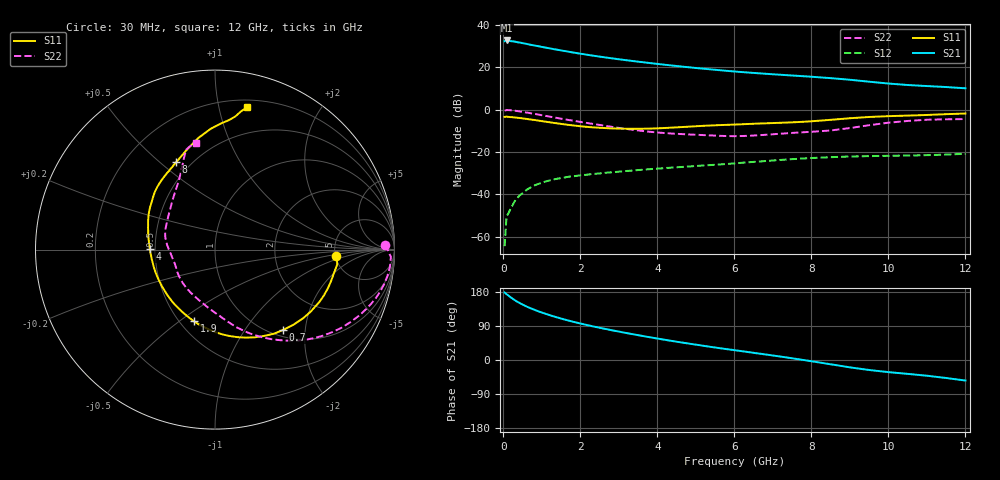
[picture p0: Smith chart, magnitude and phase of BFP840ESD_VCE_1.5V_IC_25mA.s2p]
! Infineon Technologies  Discrete & RF Semiconductors
! BFP840ESD
! VCE =  1.5 V,  IC =  25 mA
! Common Emitter S-Parameters:  May 2012
# GHz  S  MA  R  50
!  f  S11  S21  S12  S22
! GHz  MAG  ANG  MAG  ANG  MAG  ANG  MAG  ANG
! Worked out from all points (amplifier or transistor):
!   93 points, 30 MHz to 12 GHz, reference 50 ohm
!   highest |S21| = 32.7 dB at 80 MHz (marker M1)
!   |S21| within 3 dB of that: start of sweep to 986.3 MHz
!   unconditionally stable (mu >= 1): 4.509 GHz to 8.168 GHz
!   at 1.1 GHz: K = 0.44, MSG = 31.6 dB, |S12| = -33.9 dB
!   at 4.2 GHz: K = 0.98, MSG = 24.4 dB, |S12| = -27.5 dB
!   at 12 GHz: K = 0.75, MSG = 15.5 dB, |S12| = -20.8 dB
!   S11 on the Smith chart (normalised r, x): 30 MHz: 5.11, -0.62; 700 MHz: 1.12, -1.53; 1.9 GHz: 0.59, -0.57; 4 GHz: 0.47, +0.00; 8 GHz: 0.42, +0.57; 12 GHz: 0.26, +1.22
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0.03  0.6767 -2.8  41.51 178.0  0.0006 129.9  0.9489 1.7
0.08  0.6864 -6.8  43.1 173.8  0.003 104.1  0.9809 -2.4
0.23  0.6645 -19.1  41.21 162.3  0.0054 81.7  0.9615 -11.6
0.33  0.6509 -26.5  39.82 155.6  0.0077 77.0  0.937 -16.6
0.43  0.6356 -32.9  38.41 149.8  0.0096 72.9  0.9077 -21.1
0.5  0.6227 -37.8  37.11 146.1  0.0107 70.5  0.8864 -24.2
0.7  0.5871 -49.7  34.13 136.8  0.0145 66.6  0.8277 -31.8
1  0.5367 -65.6  30.34 125.1  0.0189 59.5  0.7408 -41.7
1.3  0.4889 -80.2  26.96 115.2  0.0225 54.5  0.661 -50.1
1.6  0.449 -93.4  24.18 106.5  0.0252 50.0  0.5912 -57.6
1.9  0.4157 -106.5  21.71 98.7  0.0275 47.0  0.5321 -64.2
2.1  0.3979 -114.5  20.3 93.9  0.0288 45.0  0.4974 -68.4
2.5  0.3743 -130.0  17.89 85.0  0.0313 42.7  0.4363 -76.0
3  0.3573 -148.0  15.5 74.9  0.0344 40.4  0.3717 -85.7
4  0.3634 179.3  12.04 56.6  0.0405 36.7  0.2897 -110.3
4.1  0.3661 176.3  11.76 54.9  0.0412 36.2  0.2849 -113.1
5.2  0.4163 152.8  9.277 37.4  0.0482 32.2  0.2512 -141.4
6.1  0.4491 140.6  7.848 24.6  0.0549 29.3  0.2383 -163.2
8  0.5325 114.0  5.994 -3.3  0.0723 16.5  0.3004 156.1
8.5  0.5765 106.0  5.558 -11.3  0.0757 12.3  0.3231 143.0
10.5  0.7259 83.8  3.825 -36.6  0.0827 -3.1  0.5424 108.5
12  0.8116 77.3  3.2 -54.2  0.0908 -10.7  0.601 100.3
